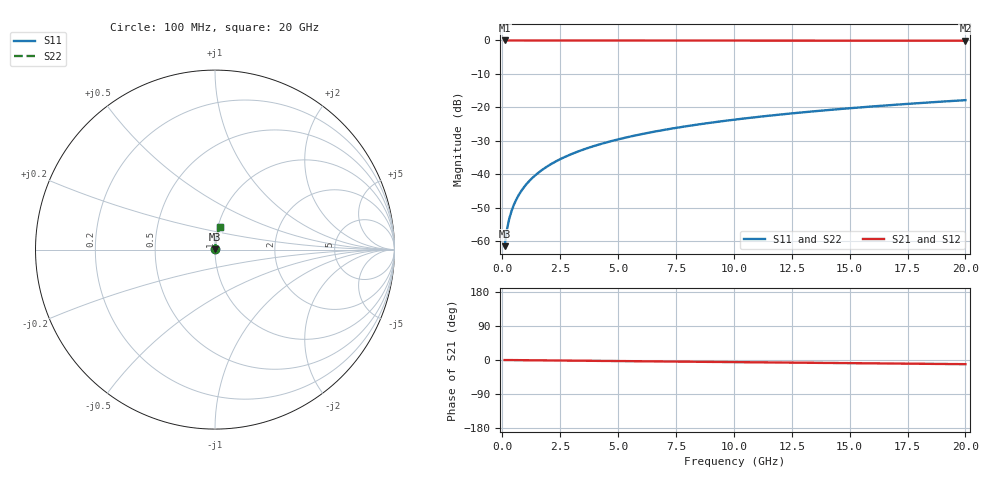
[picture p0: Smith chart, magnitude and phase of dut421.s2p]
! Touchstone file exported from HFSS 2026.1.0
!  File:  C:/ffzhzh/LocalFiles/Ansys_Project_Files/temp_train_TMRDL_421_1783005287_46388.aedt
!  Generated:  11:16:05 PM Jul  2, 2026
!  Design:  TMRDL
!  Project:  temp_train_TMRDL_421_1783005287_46388
! Variables:
!  h_bsmrdl = 2um
!  h_ox = 20um
!  h_rdl = 5um
!  h_sub = 80um
!  h_tmrdl = 5.81um
!  h_tsv = 80um
!  h_via = 3um
!  l_bsmrdl = 300um
!  l_sub = 506.46um
!  l_tmrdl = 106.46um
!  m_sub = 200um
!  pitch = 57.91um
!  r_tsv = 6um
!  s_tmrdl = 10um
!  w_bsmrdl = 18um
!  w_sub = 500um
!  w_tmrdl = 20.15um
!  x_tsv_center1 = 116.535um
!  x_tsv_center2 = 434.535um
!  x_tsv_center3 = 561.145um
!  x_tsv_center4 = 879.145um
!  x_tsv_center5 = 1005.755um
!  x_tsv_center6 = 1323.755um
# GHz S MA R 50.000000
! Terminal data exported
! Port[1] = TM_RDL1_1_T1
! Port[2] = TM_RDL1_1_T2
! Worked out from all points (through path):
!   200 points, 100 MHz to 20 GHz, reference 50 ohm
!   highest |S21| = 0.00 dB at 100 MHz (marker M1); lowest = -0.1 dB at 20 GHz (marker M2)
!   group delay of S21, straight-line fit = 1.52 ps
!   lowest |S11| = -61.6 dB at 100 MHz (marker M3), VSWR 1.00, Z = 50 + j0.0706 ohm
!   |S11| at or under -10 dB: start of sweep to end of sweep
!   |S22| runs from -61.6 to -17.9 dB; largest |S21 - S12| = 2e-15
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0.1  0.000836 57.5  0.9996 -0.1  0.9996 -0.1  0.000836 57.5
! Gamma 0 0 0 0
! Port Impedance 50 0 50 0
0.2  0.001479 71.4  0.9995 -0.1  0.9995 -0.1  0.001479 71.4
0.3  0.002145 76.5  0.9995 -0.2  0.9995 -0.2  0.002145 76.5
0.4  0.002812 79.2  0.9995 -0.2  0.9995 -0.2  0.002812 79.2
0.5  0.003476 80.8  0.9995 -0.3  0.9995 -0.3  0.003476 80.8
0.7  0.004803 82.8  0.9994 -0.4  0.9994 -0.4  0.004803 82.8
0.8  0.005466 83.4  0.9994 -0.5  0.9994 -0.5  0.005466 83.4
1  0.006793 84.3  0.9994 -0.6  0.9994 -0.6  0.006793 84.3
1.2  0.008121 84.8  0.9993 -0.7  0.9993 -0.7  0.008121 84.8
1.4  0.00945 85.2  0.9993 -0.8  0.9993 -0.8  0.00945 85.2
1.7  0.01144 85.6  0.9992 -1.0  0.9992 -1.0  0.01144 85.6
2  0.01343 85.7  0.9992 -1.1  0.9992 -1.1  0.01343 85.7
2.7  0.01806 85.8  0.999 -1.5  0.999 -1.5  0.01806 85.8
3.5  0.02332 85.7  0.9988 -2.0  0.9988 -2.0  0.02332 85.7
4.2  0.02789 85.4  0.9985 -2.4  0.9985 -2.4  0.02789 85.4
5  0.03308 85.1  0.9982 -2.8  0.9982 -2.8  0.03308 85.1
6.8  0.0447 84.3  0.9975 -3.8  0.9975 -3.8  0.0447 84.3
8.3  0.05431 83.7  0.9969 -4.6  0.9969 -4.6  0.05431 83.7
10.1  0.0658 82.8  0.996 -5.6  0.996 -5.6  0.0658 82.8
13.4  0.08671 81.2  0.9942 -7.4  0.9942 -7.4  0.08671 81.2
16.7  0.1074 79.6  0.9919 -9.2  0.9919 -9.2  0.1074 79.6
20  0.1279 77.9  0.9892 -11.0  0.9892 -11.0  0.1279 77.9
